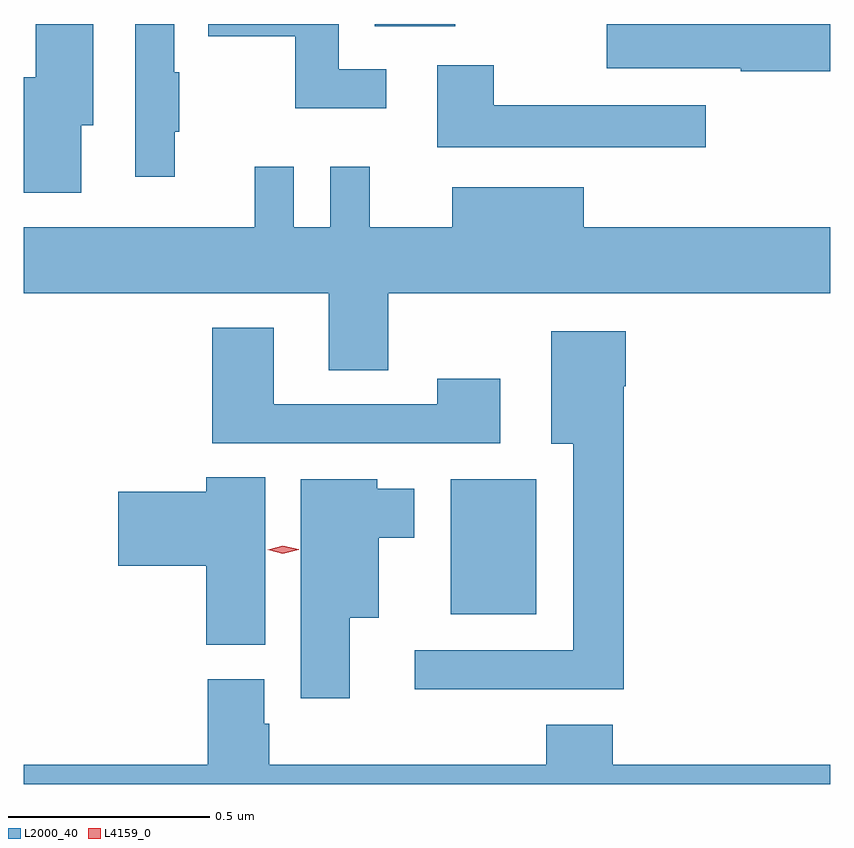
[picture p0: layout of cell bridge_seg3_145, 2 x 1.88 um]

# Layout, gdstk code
import gdstk
lib = gdstk.Library(unit=1e-6, precision=1e-09)
def R(c, l, rs):  # rectangles x0, y0, x1, y1
    for r in rs: c.add(gdstk.rectangle(r[:2], r[2:], *l))
def P(c, l, *ps):  # polygons
    for p in ps: c.add(gdstk.Polygon(p, *l))
L2000_40 = (2000, 40)
L4159_0 = (4159, 0)

bridge_seg3_145 = lib.new_cell('bridge_seg3_145')
R(bridge_seg3_145, L2000_40, [(319.802,666.821,320.014,667.156), (319.613,668.279,319.813,668.284)])
P(bridge_seg3_145, L2000_40, [(318.886,668.033),(318.916,668.033),(318.916,668.284),(318.773,668.284),(318.773,668.152),(318.743,668.152),(318.743,667.866),(318.886,667.866)],
  [(319.118,668.017),(319.129,668.017),(319.129,668.165),(319.116,668.165),(319.116,668.284),(319.02,668.284),(319.02,667.905),(319.118,667.905)],
  [(319.642,668.172),(319.524,668.172),(319.524,668.284),(319.201,668.284),(319.201,668.254),(319.416,668.254),(319.416,668.075),(319.642,668.075)],
  [(320.743,668.284),(320.189,668.284),(320.189,668.174),(320.521,668.174),(320.521,668.167),(320.743,668.167)],
  [(320.434,668.083),(319.909,668.083),(319.909,668.182),(319.769,668.182),(319.769,667.979),(320.434,667.979)],
  [(319.647,667.616),(320.743,667.616),(320.743,667.78),(320.131,667.78),(320.131,667.879),(319.805,667.879),(319.805,667.78),(319.601,667.78),(319.601,667.93),(319.503,667.93),(319.503,667.78),(319.413,667.78),(319.413,667.93),(319.316,667.93),(319.316,667.78),(318.743,667.78),(318.743,667.616),(319.499,667.616),(319.499,667.426),(319.647,667.426)],
  [(319.924,667.405),(319.768,667.405),(319.768,667.341),(319.363,667.341),(319.363,667.531),(319.211,667.531),(319.211,667.245),(319.924,667.245)],
  [(320.231,667.386),(320.236,667.386),(320.236,667.522),(320.051,667.522),(320.051,667.244),(320.105,667.244),(320.105,666.732),(319.713,666.732),(319.713,666.635),(320.231,666.635)],
  [(319.342,667.16),(319.196,667.16),(319.196,667.124),(318.978,667.124),(318.978,666.941),(319.196,666.941),(319.196,666.745),(319.342,666.745)],
  [(319.552,666.812),(319.624,666.812),(319.624,667.01),(319.711,667.01),(319.711,667.132),(319.62,667.132),(319.62,667.156),(319.43,667.156),(319.43,666.612),(319.552,666.612)],
  [(320.743,666.448),(320.204,666.448),(320.204,666.547),(320.039,666.547),(320.039,666.448),(319.352,666.448),(319.352,666.549),(319.339,666.549),(319.339,666.66),(319.199,666.66),(319.199,666.448),(318.743,666.448),(318.743,666.4),(320.743,666.4)])
P(bridge_seg3_145, L4159_0, [(319.386,666.971),(319.348,666.981),(319.348,666.981),(319.348,666.981),(319.386,666.991),(319.425,666.982),(319.425,666.981),(319.425,666.981)])

lib.write_gds('bridge_seg3_145.gds')
